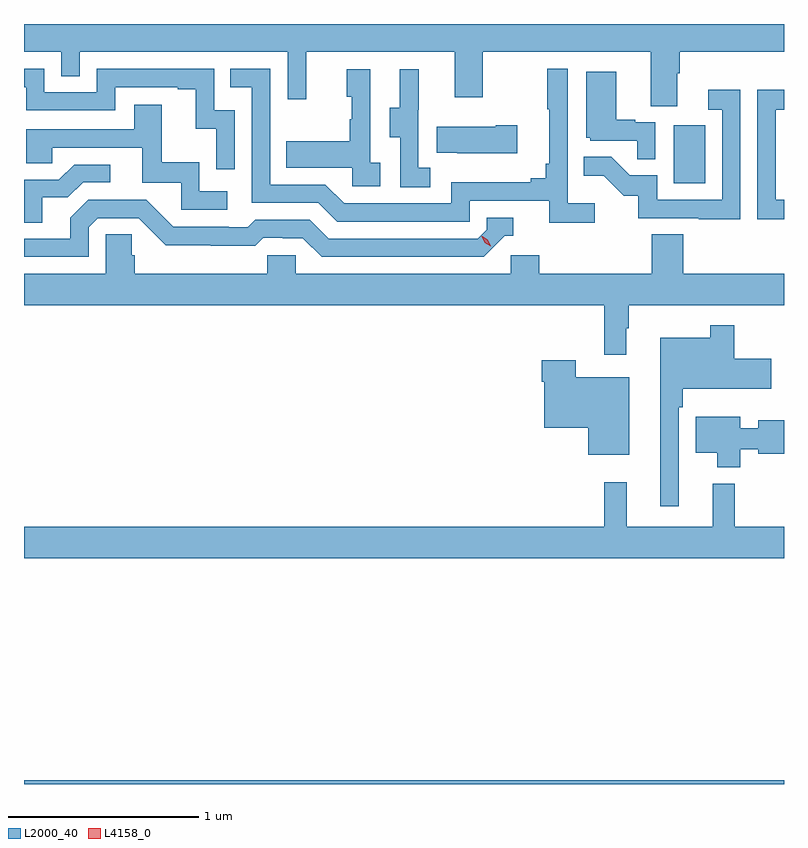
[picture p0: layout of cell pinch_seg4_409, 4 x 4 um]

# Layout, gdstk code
import gdstk
lib = gdstk.Library(unit=1e-6, precision=1e-09)
def R(c, l, rs):  # rectangles x0, y0, x1, y1
    for r in rs: c.add(gdstk.rectangle(r[:2], r[2:], *l))
def P(c, l, *ps):  # polygons
    for p in ps: c.add(gdstk.Polygon(p, *l))
L2000_40 = (2000, 40)
L4158_0 = (4158, 0)

pinch_seg4_409 = lib.new_cell('pinch_seg4_409')
R(pinch_seg4_409, L2000_40, [(987.781,767.659,991.781,767.68), (991.202,770.82,991.366,771.127)])
P(pinch_seg4_409, L2000_40, [(991.219,771.4),(991.232,771.4),(991.232,771.512),(991.781,771.512),(991.781,771.659),(987.781,771.659),(987.781,771.512),(987.978,771.512),(987.978,771.385),(988.074,771.385),(988.074,771.512),(989.169,771.512),(989.169,771.264),(989.267,771.264),(989.267,771.512),(990.047,771.512),(990.047,771.273),(990.195,771.273),(990.195,771.512),(991.079,771.512),(991.079,771.226),(991.219,771.226)],
  [(990.784,770.716),(990.642,770.716),(990.642,771.424),(990.534,771.424),(990.534,771.211),(990.545,771.211),(990.545,770.923),(990.526,770.923),(990.526,770.846),(990.449,770.846),(990.449,770.827),(990.03,770.827),(990.03,770.715),(989.466,770.715),(989.367,770.814),(989.076,770.814),(989.076,771.423),(988.867,771.423),(988.867,771.327),(988.98,771.327),(988.98,770.718),(989.33,770.718),(989.429,770.619),(990.126,770.619),(990.126,770.73),(990.545,770.73),(990.545,770.614),(990.784,770.614)],
  [(988.89,771.204),(988.782,771.204),(988.782,771.423),(988.164,771.423),(988.164,771.3),(987.888,771.3),(987.888,771.423),(987.781,771.423),(987.781,771.327),(987.792,771.327),(987.792,771.204),(988.26,771.204),(988.26,771.327),(988.589,771.327),(988.589,771.315),(988.685,771.315),(988.685,771.107),(988.794,771.107),(988.794,770.895),(988.89,770.895)],
  [(989.92,770.903),(989.856,770.903),(989.856,771.207),(989.858,771.207),(989.858,771.421),(989.759,771.421),(989.759,771.219),(989.705,771.219),(989.705,771.064),(989.76,771.064),(989.76,770.8),(989.92,770.8)],
  [(989.656,770.93),(989.604,770.93),(989.604,771.421),(989.48,771.421),(989.48,771.276),(989.506,771.276),(989.506,771.158),(989.496,771.158),(989.496,771.043),(989.161,771.043),(989.161,770.903),(989.508,770.903),(989.508,770.805),(989.656,770.805)],
  [(991.104,771.141),(990.998,771.141),(990.998,771.154),(990.898,771.154),(990.898,771.409),(990.74,771.409),(990.74,771.06),(990.762,771.06),(990.762,771.045),(991.009,771.045),(991.009,770.947),(991.104,770.947)],
  [(991.781,770.733),(991.737,770.733),(991.737,771.207),(991.781,771.207),(991.781,771.313),(991.641,771.313),(991.641,770.632),(991.781,770.632)],
  [(991.551,771.313),(991.383,771.313),(991.383,771.207),(991.455,771.207),(991.455,770.733),(991.113,770.733),(991.113,770.862),(990.969,770.862),(990.871,770.96),(990.727,770.96),(990.727,770.861),(990.831,770.861),(990.938,770.754),(991.015,770.754),(991.015,770.637),(991.333,770.637),(991.333,770.632),(991.551,770.632)],
  [(988.852,770.778),(988.704,770.778),(988.704,770.932),(988.505,770.932),(988.505,771.235),(988.361,771.235),(988.361,771.105),(987.792,771.105),(987.792,770.925),(987.929,770.925),(987.929,771.009),(988.403,771.009),(988.403,770.823),(988.608,770.823),(988.608,770.682),(988.852,770.682)],
  [(990.376,771.126),(990.263,771.126),(990.263,771.118),(989.953,771.118),(989.953,770.981),(990.061,770.981),(990.061,770.978),(990.376,770.978)],
  [(987.877,770.746),(988.012,770.746),(988.092,770.826),(988.234,770.826),(988.234,770.919),(988.046,770.919),(987.965,770.838),(987.781,770.838),(987.781,770.614),(987.877,770.614)],
  [(988.122,770.589),(988.17,770.637),(988.386,770.637),(988.528,770.495),(988.764,770.495),(988.764,770.493),(988.997,770.493),(989.039,770.535),(989.142,770.535),(989.142,770.532),(989.249,770.532),(989.348,770.433),(990.201,770.433),(990.312,770.544),(990.355,770.544),(990.355,770.64),(990.216,770.64),(990.216,770.577),(990.168,770.529),(989.385,770.529),(989.286,770.628),(988.997,770.628),(988.958,770.589),(988.859,770.589),(988.859,770.592),(988.566,770.592),(988.425,770.733),(988.119,770.733),(988.025,770.639),(988.025,770.529),(987.781,770.529),(987.781,770.433),(988.122,770.433)],
  [(990.952,770.057),(990.964,770.057),(990.964,770.18),(991.781,770.18),(991.781,770.344),(991.25,770.344),(991.25,770.552),(991.085,770.552),(991.085,770.344),(990.494,770.344),(990.494,770.442),(990.342,770.442),(990.342,770.344),(989.211,770.344),(989.211,770.442),(989.061,770.442),(989.061,770.344),(988.364,770.344),(988.364,770.442),(988.349,770.442),(988.349,770.552),(988.212,770.552),(988.212,770.344),(987.781,770.344),(987.781,770.18),(990.835,770.18),(990.835,769.917),(990.952,769.917)],
  [(991.227,769.643),(991.247,769.643),(991.247,769.739),(991.714,769.739),(991.714,769.897),(991.52,769.897),(991.52,770.074),(991.392,770.074),(991.392,770.008),(991.13,770.008),(991.13,769.122),(991.227,769.122)],
  [(990.967,769.801),(990.684,769.801),(990.684,769.888),(990.506,769.888),(990.506,769.775),(990.518,769.775),(990.518,769.535),(990.752,769.535),(990.752,769.391),(990.967,769.391)],
  [(991.552,769.422),(991.646,769.422),(991.646,769.396),(991.781,769.396),(991.781,769.574),(991.646,769.574),(991.646,769.532),(991.552,769.532),(991.552,769.591),(991.316,769.591),(991.316,769.403),(991.43,769.403),(991.43,769.325),(991.552,769.325)],
  [(991.781,769.012),(991.523,769.012),(991.523,769.24),(991.406,769.24),(991.406,769.012),(990.953,769.012),(990.953,769.246),(990.835,769.246),(990.835,769.012),(987.781,769.012),(987.781,768.848),(991.781,768.848)])
P(pinch_seg4_409, L4158_0, [(990.237,770.489),(990.207,770.509),(990.191,770.542),(990.191,770.543),(990.192,770.543),(990.222,770.523),(990.238,770.49),(990.238,770.489)])

lib.write_gds('pinch_seg4_409.gds')
